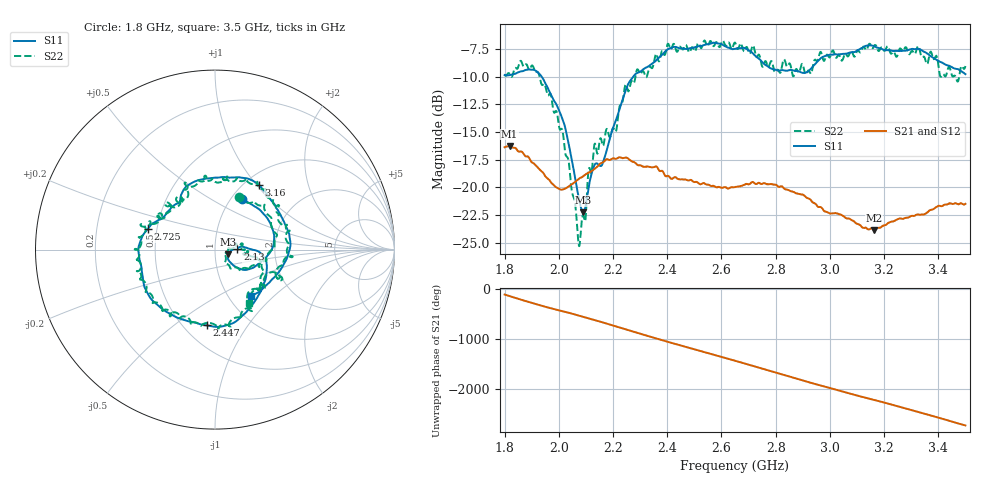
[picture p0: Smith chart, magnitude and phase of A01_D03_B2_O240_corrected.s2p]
! Created with skrf 1.9.0 (http://scikit-rf.org).
# Hz S RI R 50.0
!freq ReS11 ImS11 ReS21 ImS21 ReS12 ImS12 ReS22 ImS22
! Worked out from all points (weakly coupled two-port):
!   1601 points, 1.8 GHz to 3.5 GHz, reference 50 ohm
!   highest |S21| = -16.26 dB at 1.818 GHz (marker M1); lowest = -23.8 dB at 3.163 GHz (marker M2)
!   lowest |S11| = -22.2 dB at 2.09 GHz (marker M3), VSWR 1.17, Z = 57.7 - j3.05 ohm
!   |S11| at or under -10 dB: 1.937 GHz to 2.275 GHz (337.6 MHz wide, 16 % of centre)
!   |S22| runs from -25.3 to -6.7 dB; largest |S21 - S12| = 0.0026
!   S11 on the Smith chart (normalised r, x): 1.8 GHz: 1.12, +0.71; 2.13 GHz: 1.29, +0.00; 2.447 GHz: 0.64, -0.66; 2.725 GHz: 0.44, +0.12; 3.16 GHz: 1.15, +1.03; 3.5 GHz: 1.26, -0.73
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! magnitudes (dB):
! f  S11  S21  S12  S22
! 1.8 GHz  -9.9  -16.4  -16.4  -9.8
! 1.818 GHz  -9.9  -16.3  -16.3  -9.7
! 1.903 GHz  -9.4  -17.8  -17.8  -9.0
! 1.968 GHz  -11.5  -19.4  -19.5  -11.5
! 2.015 GHz  -13.9  -20.2  -20.2  -15.0
! 2.072 GHz  -20.7  -19.3  -19.3  -24.9
! 2.084 GHz  -22.0  -19.1  -19.0  -23.2
! 2.09 GHz  -22.2  -19.0  -19.0  -22.5
! 2.13 GHz  -18.0  -18.3  -18.3  -16.2
! 2.163 GHz  -17.7  -17.7  -17.7  -16.2
! 2.26 GHz  -10.5  -17.5  -17.5  -11.1
! 2.367 GHz  -8.3  -18.4  -18.3  -8.6
! 2.447 GHz  -7.4  -19.3  -19.3  -7.3
! 2.65 GHz  -7.5  -20.0  -19.9  -6.9
! 2.725 GHz  -8.1  -19.7  -19.7  -8.0
! 2.934 GHz  -9.2  -21.3  -21.2  -9.5
! 3.16 GHz  -7.2  -23.8  -23.7  -7.4
! 3.163 GHz  -7.2  -23.8  -23.8  -7.2
! 3.217 GHz  -7.6  -23.2  -23.1  -7.4
! 3.376 GHz  -8.2  -22.0  -22.0  -7.9
! 3.415 GHz  -8.7  -21.7  -21.6  -9.8
! 3.5 GHz  -9.8  -21.5  -21.5  -9.0
